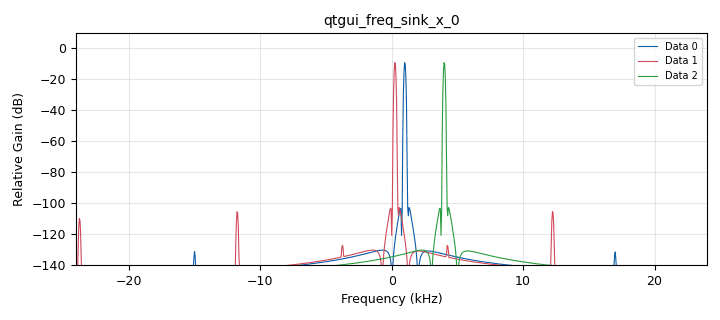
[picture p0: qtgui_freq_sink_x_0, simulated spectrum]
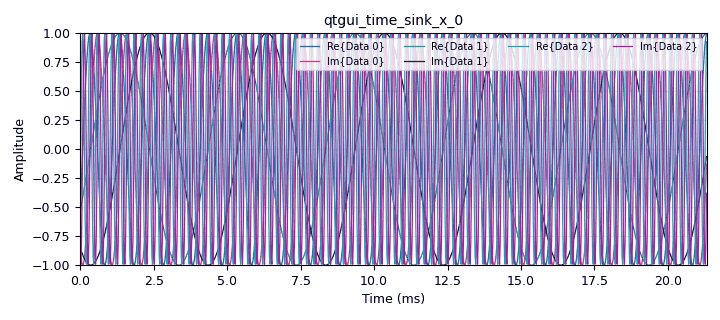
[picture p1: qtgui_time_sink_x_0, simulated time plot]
options:
  parameters:
    author: Andres Rincon
    copyright: '2021'
    description: P12
    generate_options: qt_gui
    id: Punto2
    output_language: python
    title: Practica1
  states: {}

blocks:
- name: samp_rate
  id: variable
  parameters:
    value: '48000'
  states: {}
- name: analog_sig_source_x_0
  id: analog_sig_source_x
  parameters:
    amp: '1'
    freq: '1000'
    offset: '0'
    phase: '0'
    samp_rate: '48000'
    type: complex
    waveform: analog.GR_COS_WAVE
  states: {}
- name: analog_sig_source_x_1
  id: analog_sig_source_x
  parameters:
    amp: '1'
    freq: '1000'
    offset: '0'
    phase: '0'
    samp_rate: samp_rate
    type: complex
    waveform: analog.GR_COS_WAVE
  states: {}
- name: analog_sig_source_x_2
  id: analog_sig_source_x
  parameters:
    amp: '1'
    freq: '1000'
    offset: '0'
    phase: '0'
    samp_rate: samp_rate
    type: complex
    waveform: analog.GR_COS_WAVE
  states: {}
- name: blocks_throttle_0
  id: blocks_throttle
  parameters:
    samples_per_second: samp_rate
    type: complex
  states: {}
- name: qtgui_freq_sink_x_0
  id: qtgui_freq_sink_x
  parameters:
    bw: samp_rate
    fc: '0'
    fftsize: '1024'
    nconnections: '3'
    type: complex
    wintype: firdes.WIN_BLACKMAN_hARRIS
  states: {}
- name: qtgui_time_sink_x_0
  id: qtgui_time_sink_x
  parameters:
    nconnections: '3'
    size: '1024'
    srate: samp_rate
    type: complex
  states: {}
- name: rational_resampler_xxx_0
  id: rational_resampler_xxx
  parameters:
    decim: '1'
    interp: '1'
    taps: ''
    type: ccc
  states: {}
- name: rational_resampler_xxx_1
  id: rational_resampler_xxx
  parameters:
    decim: '1'
    interp: '4'
    taps: ''
    type: ccc
  states: {}
- name: rational_resampler_xxx_2
  id: rational_resampler_xxx
  parameters:
    decim: '4'
    interp: '1'
    taps: ''
    type: ccc
  states: {}

connections:
- [analog_sig_source_x_0, '0', rational_resampler_xxx_0, '0']
- [analog_sig_source_x_1, '0', rational_resampler_xxx_1, '0']
- [analog_sig_source_x_2, '0', rational_resampler_xxx_2, '0']
- [blocks_throttle_0, '0', qtgui_freq_sink_x_0, '0']
- [blocks_throttle_0, '0', qtgui_time_sink_x_0, '0']
- [rational_resampler_xxx_0, '0', blocks_throttle_0, '0']
- [rational_resampler_xxx_1, '0', qtgui_freq_sink_x_0, '1']
- [rational_resampler_xxx_1, '0', qtgui_time_sink_x_0, '1']
- [rational_resampler_xxx_2, '0', qtgui_freq_sink_x_0, '2']
- [rational_resampler_xxx_2, '0', qtgui_time_sink_x_0, '2']

metadata:
  file_format: 1
